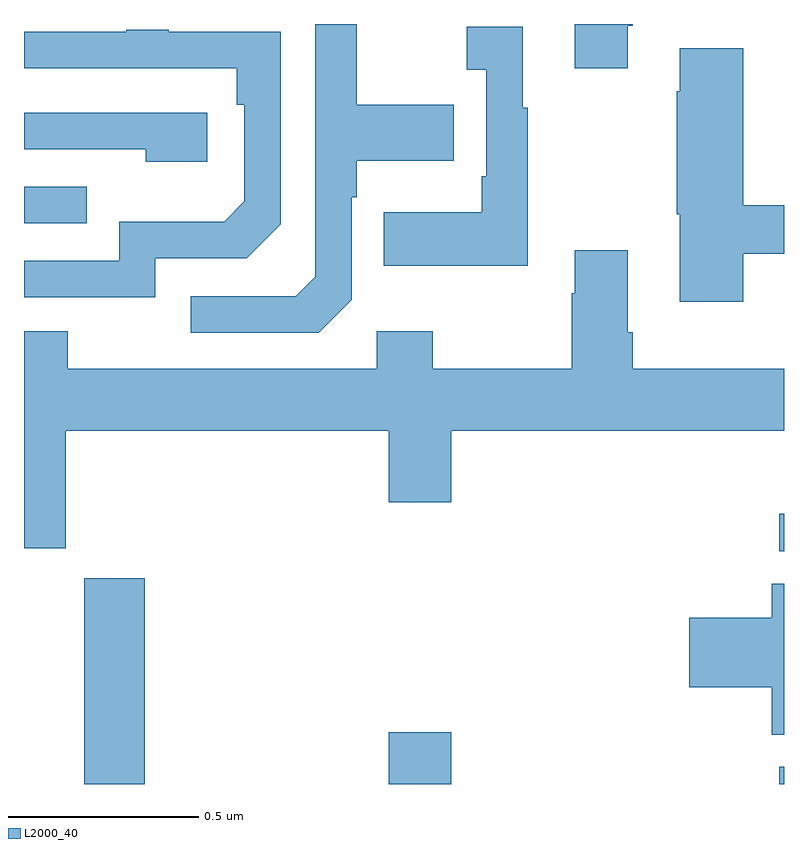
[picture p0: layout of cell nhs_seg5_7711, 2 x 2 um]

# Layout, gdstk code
import gdstk
lib = gdstk.Library(unit=1e-6, precision=1e-09)
def R(c, l, rs):  # rectangles x0, y0, x1, y1
    for r in rs: c.add(gdstk.rectangle(r[:2], r[2:], *l))
def P(c, l, *ps):  # polygons
    for p in ps: c.add(gdstk.Polygon(p, *l))
L2000_40 = (2000, 40)

nhs_seg5_7711 = lib.new_cell('nhs_seg5_7711')
R(nhs_seg5_7711, L2000_40, [(212.158,887.799,212.318,888.34), (212.96,887.799,213.124,887.935), (213.987,887.799,214,887.844), (213.987,888.411,214,888.51), (212,889.275,212.165,889.371)])
P(nhs_seg5_7711, L2000_40, [(213.589,889.795),(213.602,889.795),(213.602,889.799),(213.449,889.799),(213.449,889.683),(213.589,889.683)],
  [(212.862,889.074),(212.862,889.343),(212.875,889.343),(212.875,889.439),(213.131,889.439),(213.131,889.587),(212.875,889.587),(212.875,889.799),(212.766,889.799),(212.766,889.134),(212.715,889.083),(212.439,889.083),(212.439,888.987),(212.775,888.987)],
  [(213.325,889.579),(213.313,889.579),(213.313,889.792),(213.165,889.792),(213.165,889.679),(213.216,889.679),(213.216,889.399),(213.204,889.399),(213.204,889.303),(212.947,889.303),(212.947,889.163),(213.325,889.163)],
  [(212.346,889.182),(212.586,889.182),(212.676,889.272),(212.676,889.779),(212.381,889.779),(212.381,889.784),(212.269,889.784),(212.269,889.779),(212,889.779),(212,889.683),(212.56,889.683),(212.56,889.586),(212.58,889.586),(212.58,889.332),(212.527,889.279),(212.25,889.279),(212.25,889.176),(212,889.176),(212,889.08),(212.346,889.08)],
  [(213.893,889.194),(214,889.194),(214,889.322),(213.893,889.322),(213.893,889.735),(213.725,889.735),(213.725,889.622),(213.718,889.622),(213.718,889.299),(213.725,889.299),(213.725,889.068),(213.893,889.068)],
  [(212.482,889.566),(212,889.566),(212,889.47),(212.321,889.47),(212.321,889.436),(212.482,889.436)],
  [(212.11,888.728),(212.96,888.728),(212.96,888.54),(213.124,888.54),(213.124,888.728),(214,888.728),(214,888.892),(213.602,888.892),(213.602,888.988),(213.589,888.988),(213.589,889.204),(213.449,889.204),(213.449,889.091),(213.442,889.091),(213.442,888.892),(213.075,888.892),(213.075,888.991),(212.928,888.991),(212.928,888.892),(212.115,888.892),(212.115,888.991),(212,888.991),(212,888.419),(212.11,888.419)],
  [(214,888.326),(213.968,888.326),(213.968,888.236),(213.75,888.236),(213.75,888.053),(213.968,888.053),(213.968,887.929),(214,887.929)])

lib.write_gds('nhs_seg5_7711.gds')
